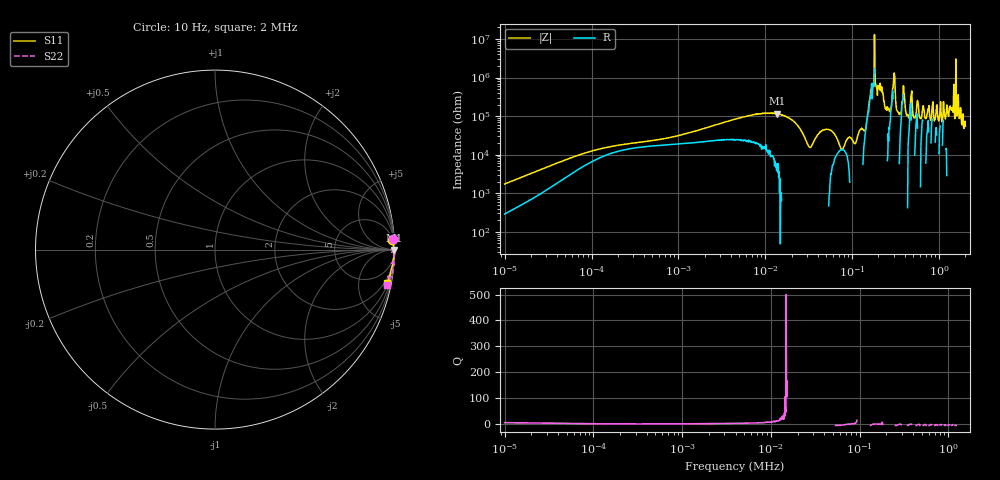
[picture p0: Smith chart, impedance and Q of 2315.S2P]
!Agilent Technologies,E5061B,MY49204007,A.02.12
!Date: Wed Jul 23 12:08:36 2025
!Data & Calibration Information:
!Freq	S11:SOLT2(ON)	S21:SOLT2(ON)	S12:SOLT2(ON)	S22:SOLT2(ON)
# Hz S dB R 50
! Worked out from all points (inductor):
!   1040 points, 10 Hz to 2 MHz, reference 50 ohm
!   read as one part in series: L = 26.5 H near 10.69 Hz
!   highest Q = 30.5 at 13.57 kHz (marker M1), where L = 1.37 H
!   self-resonance near 32.17 kHz
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10  -0.10 3.2  -24.89 -77.1  -24.90 -77.0  -0.08 3.4
77.209  -0.04 0.5  -40.35 -62.4  -40.35 -62.3  -0.02 0.7
588.818  -0.03 0.2  -47.83 -45.0  -47.84 -44.8  -0.01 0.4
4498.482  -0.01 0.0  -58.42 -73.2  -58.45 -72.6  0.01 0.2
13569.4  -0.00 -0.1  -61.35 -88.1  -61.28 -87.2  0.02 0.0
21111.31  -0.01 -0.2  -57.32 -99.4  -57.34 -99.2  0.01 -0.1
34305.13  -0.03 -0.1  -44.83 147.0  -44.82 146.8  -0.05 0.1
49996.43  -0.01 -0.3  -53.16 93.1  -53.18 94.2  0.01 -0.2
75946.9  -0.03 -0.5  -42.72 2.4  -42.71 2.9  -0.15 -0.4
107797.2  -0.02 -0.6  -45.84 -170.3  -45.88 -169.5  -0.18 -0.4
141827.6  -0.03 -0.7  -52.96 24.3  -52.89 23.7  -0.02 -0.3
177790.9  -0.01 -1.0  -78.54 -46.2  -93.74 -133.4  0.00 -0.6
261946.5  -0.01 -1.4  -63.59 80.2  -63.75 77.3  0.00 -1.1
298759.9  -0.01 -1.6  -78.96 90.4  -73.71 43.6  0.01 -1.4
343301.1  -0.02 -1.8  -61.52 89.2  -61.57 91.5  0.00 -1.7
387842.4  -0.02 -2.0  -75.78 99.5  -77.62 80.1  0.01 -1.9
432692.3  -0.03 -2.3  -60.83 87.5  -60.73 90.2  0.00 -2.2
483048.3  -0.02 -2.6  -73.11 124.7  -69.93 114.5  -0.01 -2.5
522214  -0.02 -2.8  -59.14 81.1  -58.73 80.3  -0.00 -2.7
1026914  -0.07 -5.5  -64.39 64.6  -65.08 62.1  -0.02 -6.1
1554576  -0.14 -8.4  -89.89 75.9  -74.48 71.0  -0.17 -8.8
2000000  -0.21 -11.0  -55.03 -132.2  -55.24 -132.4  -0.18 -11.7
